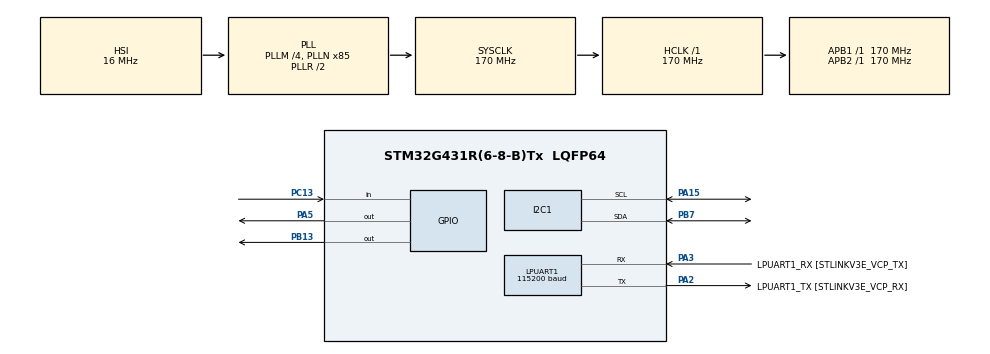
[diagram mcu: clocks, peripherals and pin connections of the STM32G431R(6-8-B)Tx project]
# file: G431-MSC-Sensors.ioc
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I2C1.Timing=0x40B285C2
LPUART1.BaudRate=115200
Mcu.Family=STM32G4
Mcu.Name=STM32G431R(6-8-B)Tx
Mcu.Package=LQFP64
NVIC.PriorityGroup=NVIC_PRIORITYGROUP_4
NVIC.TIM2_IRQn=true\:0\:0\:false\:false\:true\:true\:true\:true
PA13.GPIO_Label=T_SWDIO
PA13.Signal=SYS_JTMS-SWDIO
PA14.GPIO_Label=T_SWCLK
PA14.Signal=SYS_JTCK-SWCLK
PA15.Mode=I2C
PA15.Signal=I2C1_SCL
PA2.GPIO_Label=LPUART1_TX [STLINKV3E_VCP_RX]
PA2.Mode=Asynchronous
PA2.Signal=LPUART1_TX
PA3.GPIO_Label=LPUART1_RX [STLINKV3E_VCP_TX]
PA3.Mode=Asynchronous
PA3.Signal=LPUART1_RX
PA5.Signal=GPIO_Output
PB13.Signal=GPIO_Output
PB3.GPIO_Label=T_SWO
PB3.Signal=SYS_JTDO-SWO
PB7.Mode=I2C
PB7.Signal=I2C1_SDA
PC13.Signal=GPIO_Input
PC14-OSC32_IN.GPIO_Label=RCC_OSC32_OUT
PC14-OSC32_IN.Signal=RCC_OSC32_IN
PC15-OSC32_OUT.GPIO_Label=RCC_OSC32_OUT
PC15-OSC32_OUT.Signal=RCC_OSC32_OUT
PF0-OSC_IN.GPIO_Label=RCC_OSC_IN
PF0-OSC_IN.Signal=RCC_OSC_IN
PF1-OSC_OUT.GPIO_Label=RCC_OSC_OUT
PF1-OSC_OUT.Signal=RCC_OSC_OUT
ProjectManager.HeapSize=0x200
ProjectManager.StackSize=0x400
ProjectManager.TargetToolchain=STM32CubeIDE
RCC.ADC12Freq_Value=170000000
RCC.AHBFreq_Value=170000000
RCC.APB1Freq_Value=170000000
RCC.APB1TimFreq_Value=170000000
RCC.APB2Freq_Value=170000000
RCC.APB2TimFreq_Value=170000000
RCC.CortexFreq_Value=170000000
RCC.EXTERNAL_CLOCK_VALUE=12288000
RCC.HCLKFreq_Value=170000000
RCC.HSE_VALUE=24000000
RCC.HSI48_VALUE=48000000
RCC.HSI_VALUE=16000000
RCC.LSE_VALUE=32768
RCC.PLLM=RCC_PLLM_DIV4
RCC.PLLN=85
RCC.RTCClockSelection=RCC_RTCCLKSOURCE_LSE
RCC.SYSCLKFreq_VALUE=170000000
RCC.SYSCLKSource=RCC_SYSCLKSOURCE_PLLCLK
RCC.USBFreq_Value=170000000
RCC.VCOOutputFreq_Value=340000000
TIM2.PeriodNoDither=100-1
TIM2.Prescaler=17000-1
VP_SYS_VS_DBSignals.Mode=DisableDeadBatterySignals
VP_TIM2_VS_ClockSourceINT.Mode=Internal
board=NUCLEO-G431RB

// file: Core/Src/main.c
/* USER CODE BEGIN Header */
/**
 ******************************************************************************
 * @file           : main.c
 * @brief          : Main program body
 ******************************************************************************
 * @attention
 *
 * Copyright (c) 2024 STMicroelectronics.
 * All rights reserved.
 *
 * This software is licensed under terms that can be found in the LICENSE file
 * in the root directory of this software component.
 * If no LICENSE file comes with this software, it is provided AS-IS.
 *
 ******************************************************************************
 */
/* USER CODE END Header */
#include "main.h"

/* USER CODE BEGIN Includes */
#include "tools.h"
#include "functions.h"
#include "compass.h"

/* USER CODE END Includes */

I2C_HandleTypeDef hi2c1;

UART_HandleTypeDef hlpuart1;

TIM_HandleTypeDef htim2;

/* USER CODE BEGIN PV */
CompassCalib_t acc_calib;
/* USER CODE END PV */

void SystemClock_Config(void);
static void MX_GPIO_Init(void);
static void MX_I2C1_Init(void);
static void MX_LPUART1_UART_Init(void);
static void MX_TIM2_Init(void);

int main(void)
{

	/* MCU Configuration--------------------------------------------------------*/

	/* Reset of all peripherals, Initializes the Flash interface and the Systick. */
	HAL_Init();

	/* Configure the system clock */
	SystemClock_Config();

	/* Initialize all configured peripherals */
	MX_GPIO_Init();
	MX_I2C1_Init();
	MX_LPUART1_UART_Init();
	MX_TIM2_Init();
	/* USER CODE BEGIN 2 */
	setup();

	HAL_UART_Transmit(&hlpuart1, (uint8_t*)"\r\n--- Initialisation du MPU9250 ---\r\n", 39, HAL_MAX_DELAY);
	checkMPU9250_ID();   // Vérifie le WHO_AM_I du MPU
	InitSensors();       // Initialise les registres de base

	// === Calibration du gyroscope ===
	HAL_UART_Transmit(&hlpuart1, (uint8_t*)"\r\n\r\nDébut de la calibration du gyroscope...\r\n", 47, HAL_MAX_DELAY);
	GyrCalib(1000);  // Prend 1000 échantillons immobiles pour calculer les offsets
	ReadOffsetGyro();

	// === Calibration « light » du magnétomètre ===
	HAL_UART_Transmit(&hlpuart1, (uint8_t*)"\r\nDébut de la calibration lite du magnétomètre...\r\n", 52, HAL_MAX_DELAY);
	MagCalibLite(300, 50);  // 300 mesures, 50 ms d'écart
	HAL_UART_Transmit(&hlpuart1, (uint8_t*)"Calibration lite du magnétomètre terminée !\r\n", 49, HAL_MAX_DELAY);

	// === Calibration plus poussée du magnétomètre ===
	HAL_UART_Transmit(&hlpuart1, (uint8_t*)"\r\nDébut de la calibration hard & soft iron magnétomètre...\r\n", strlen("\r\nDébut de la calibration hard & soft iron magnétomètre...\r\n"), HAL_MAX_DELAY);

	double mag_bias[3], mag_scale[3];
	MagCalib(&hi2c1, mag_bias, mag_scale);

	// Affichage des résultats de calibration
	char calib_msg[100];
	snprintf(calib_msg, sizeof(calib_msg),
			"\r\nBias: X=%.3f | Y=%.3f | Z=%.3f\r\nScale: X=%.3f | Y=%.3f | Z=%.3f\r\n",
			mag_bias[0], mag_bias[1], mag_bias[2],
			mag_scale[0], mag_scale[1], mag_scale[2]);
	HAL_UART_Transmit(&hlpuart1, (uint8_t*)calib_msg, strlen(calib_msg), HAL_MAX_DELAY);

	HAL_UART_Transmit(&hlpuart1,(uint8_t*)"Calibration hard & soft iron terminée\r\n", strlen("Calibration hard & soft iron terminée\r\n"), HAL_MAX_DELAY);

	// --- Lecture d'une mesure magnétomètre calibrée ---
	double mag_results[3];
	char mag_msg[100];

	MagMeasureMsgCalib(mag_results, mag_msg, sizeof(mag_msg), mag_bias, mag_scale);
	HAL_UART_Transmit(&hlpuart1, (uint8_t*)mag_msg, strlen(mag_msg), HAL_MAX_DELAY);

	// Demarrage du Timer
	HAL_TIM_Base_Start_IT(&htim2);
	HAL_UART_Transmit(&hlpuart1, (uint8_t*)"Timer 100 Hz démarré\r\n", 26, HAL_MAX_DELAY);

	// --- Tests éventuels ---
	//TestAccelSensZ();
	//TestGyroNoise(1000);

	// --- Test Calib Mag MATLAB ---
	/*int N = 500;
	for (int i=1; i<N; i++) {
		double  mag_data[3];
	    MagMeasureMsgCalib(mag_data, mag_msg, sizeof(mag_msg), mag_bias, mag_scale);
	    HAL_UART_Transmit(&hlpuart1, (uint8_t*)mag_msg, strlen(mag_msg), HAL_MAX_DELAY);
	    HAL_Delay(100); // 100 ms entre chaque mesure
	}*/
	/* USER CODE END 2 */

	/* Infinite loop */
	/* USER CODE BEGIN WHILE */
	while (1)
	{
		//loop();
		/* USER CODE END WHILE */

		/* USER CODE BEGIN 3 */
		char temp_msg[50];
		char gyro_msg[100];
		char acc_msg[100];
		char mag_msg[100];
		char compass_msg[100];

		double acc_data[3], gyro_data[3], mag_data[3];
		double roll = 0, pitch = 0, heading = 0;

		// Mesures
		TempMeasureMsg(temp_msg, sizeof(temp_msg));
		GyroMeasureMsg(gyro_data, gyro_msg, sizeof(gyro_msg));
		AccMeasureMsg(acc_data, acc_msg, sizeof(acc_msg));
		MagMeasureMsgCalib(mag_data, mag_msg, sizeof(mag_msg), mag_bias, mag_scale);

		// Boussole compensée
		CompassMeasureMsg(acc_data, compass_msg, sizeof(compass_msg), &acc_calib);

		// Transmission UART dans l'ordre désiré
		HAL_UART_Transmit(&hlpuart1, (uint8_t*)temp_msg, strlen(temp_msg), HAL_MAX_DELAY);
		HAL_UART_Transmit(&hlpuart1, (uint8_t*)gyro_msg, strlen(gyro_msg), HAL_MAX_DELAY);
		HAL_UART_Transmit(&hlpuart1, (uint8_t*)acc_msg, strlen(acc_msg), HAL_MAX_DELAY);
		HAL_UART_Transmit(&hlpuart1, (uint8_t*)mag_msg, strlen(mag_msg), HAL_MAX_DELAY);
		HAL_UART_Transmit(&hlpuart1, (uint8_t*)"\r\n", strlen("\r\n"), HAL_MAX_DELAY);

		// Calcul de l'orientation compensée
		HAL_UART_Transmit(&hlpuart1, (uint8_t*)compass_msg, strlen(compass_msg), HAL_MAX_DELAY);

		TiltCompensatedCompass(acc_data, mag_data, &roll, &pitch, &heading);
		snprintf(compass_msg, sizeof(compass_msg),
				"Roulis = %.2f deg | Tangage = %.2f deg | NordMag = %.2f deg\r\n",
				roll, pitch, heading);
		HAL_UART_Transmit(&hlpuart1, (uint8_t*)compass_msg, strlen(compass_msg), HAL_MAX_DELAY);

		TiltCompensatedCompassAngles(acc_data, mag_data, &roll, &pitch, &heading);
		snprintf(compass_msg, sizeof(compass_msg),
				"Roulis amélioré = %.2f deg | Tangage amélioré = %.2f deg | NordMag amélioré = %.2f deg\r\n",
				roll, pitch, heading);
		HAL_UART_Transmit(&hlpuart1, (uint8_t*)compass_msg, strlen(compass_msg), HAL_MAX_DELAY);

		HAL_UART_Transmit(&hlpuart1, "\r\n===============================\r\n", strlen("\r\n================================\r\n"), HAL_MAX_DELAY);

		HAL_Delay(1000);
	}
	/* USER CODE END 3 */
}

void SystemClock_Config(void)
{
	RCC_OscInitTypeDef RCC_OscInitStruct = {0};
	RCC_ClkInitTypeDef RCC_ClkInitStruct = {0};

	/** Configure the main internal regulator output voltage
	 */
	HAL_PWREx_ControlVoltageScaling(PWR_REGULATOR_VOLTAGE_SCALE1_BOOST);

	/** Initializes the RCC Oscillators according to the specified parameters
	 * in the RCC_OscInitTypeDef structure.
	 */
	RCC_OscInitStruct.OscillatorType = RCC_OSCILLATORTYPE_HSI;
	RCC_OscInitStruct.HSIState = RCC_HSI_ON;
	RCC_OscInitStruct.HSICalibrationValue = RCC_HSICALIBRATION_DEFAULT;
	RCC_OscInitStruct.PLL.PLLState = RCC_PLL_ON;
	RCC_OscInitStruct.PLL.PLLSource = RCC_PLLSOURCE_HSI;
	RCC_OscInitStruct.PLL.PLLM = RCC_PLLM_DIV4;
	RCC_OscInitStruct.PLL.PLLN = 85;
	RCC_OscInitStruct.PLL.PLLP = RCC_PLLP_DIV2;
	RCC_OscInitStruct.PLL.PLLQ = RCC_PLLQ_DIV2;
	RCC_OscInitStruct.PLL.PLLR = RCC_PLLR_DIV2;
	if (HAL_RCC_OscConfig(&RCC_OscInitStruct) != HAL_OK)
	{
		Error_Handler();
	}

	/** Initializes the CPU, AHB and APB buses clocks
	 */
	RCC_ClkInitStruct.ClockType = RCC_CLOCKTYPE_HCLK|RCC_CLOCKTYPE_SYSCLK
			|RCC_CLOCKTYPE_PCLK1|RCC_CLOCKTYPE_PCLK2;
	RCC_ClkInitStruct.SYSCLKSource = RCC_SYSCLKSOURCE_PLLCLK;
	RCC_ClkInitStruct.AHBCLKDivider = RCC_SYSCLK_DIV1;
	RCC_ClkInitStruct.APB1CLKDivider = RCC_HCLK_DIV1;
	RCC_ClkInitStruct.APB2CLKDivider = RCC_HCLK_DIV1;

	if (HAL_RCC_ClockConfig(&RCC_ClkInitStruct, FLASH_LATENCY_4) != HAL_OK)
	{
		Error_Handler();
	}
}

static void MX_I2C1_Init(void)
{

	hi2c1.Instance = I2C1;
	hi2c1.Init.Timing = 0x40B285C2;
	hi2c1.Init.OwnAddress1 = 0;
	hi2c1.Init.AddressingMode = I2C_ADDRESSINGMODE_7BIT;
	hi2c1.Init.DualAddressMode = I2C_DUALADDRESS_DISABLE;
	hi2c1.Init.OwnAddress2 = 0;
	hi2c1.Init.OwnAddress2Masks = I2C_OA2_NOMASK;
	hi2c1.Init.GeneralCallMode = I2C_GENERALCALL_DISABLE;
	hi2c1.Init.NoStretchMode = I2C_NOSTRETCH_DISABLE;
	if (HAL_I2C_Init(&hi2c1) != HAL_OK)
	{
		Error_Handler();
	}

	/** Configure Analogue filter
	 */
	if (HAL_I2CEx_ConfigAnalogFilter(&hi2c1, I2C_ANALOGFILTER_ENABLE) != HAL_OK)
	{
		Error_Handler();
	}

	/** Configure Digital filter
	 */
	if (HAL_I2CEx_ConfigDigitalFilter(&hi2c1, 0) != HAL_OK)
	{
		Error_Handler();
	}

}

static void MX_LPUART1_UART_Init(void)
{

	hlpuart1.Instance = LPUART1;
	hlpuart1.Init.BaudRate = 115200;
	hlpuart1.Init.WordLength = UART_WORDLENGTH_8B;
	hlpuart1.Init.StopBits = UART_STOPBITS_1;
	hlpuart1.Init.Parity = UART_PARITY_NONE;
	hlpuart1.Init.Mode = UART_MODE_TX_RX;
	hlpuart1.Init.HwFlowCtl = UART_HWCONTROL_NONE;
	hlpuart1.Init.OneBitSampling = UART_ONE_BIT_SAMPLE_DISABLE;
	hlpuart1.Init.ClockPrescaler = UART_PRESCALER_DIV1;
	hlpuart1.AdvancedInit.AdvFeatureInit = UART_ADVFEATURE_NO_INIT;
	if (HAL_UART_Init(&hlpuart1) != HAL_OK)
	{
		Error_Handler();
	}
	if (HAL_UARTEx_SetTxFifoThreshold(&hlpuart1, UART_TXFIFO_THRESHOLD_1_8) != HAL_OK)
	{
		Error_Handler();
	}
	if (HAL_UARTEx_SetRxFifoThreshold(&hlpuart1, UART_RXFIFO_THRESHOLD_1_8) != HAL_OK)
	{
		Error_Handler();
	}
	if (HAL_UARTEx_DisableFifoMode(&hlpuart1) != HAL_OK)
	{
		Error_Handler();
	}

}

static void MX_TIM2_Init(void)
{

	TIM_ClockConfigTypeDef sClockSourceConfig = {0};
	TIM_MasterConfigTypeDef sMasterConfig = {0};

	htim2.Instance = TIM2;
	htim2.Init.Prescaler = 17000-1;
	htim2.Init.CounterMode = TIM_COUNTERMODE_UP;
	htim2.Init.Period = 99;
	htim2.Init.ClockDivision = TIM_CLOCKDIVISION_DIV1;
	htim2.Init.AutoReloadPreload = TIM_AUTORELOAD_PRELOAD_DISABLE;
	if (HAL_TIM_Base_Init(&htim2) != HAL_OK)
	{
		Error_Handler();
	}
	sClockSourceConfig.ClockSource = TIM_CLOCKSOURCE_INTERNAL;
	if (HAL_TIM_ConfigClockSource(&htim2, &sClockSourceConfig) != HAL_OK)
	{
		Error_Handler();
	}
	sMasterConfig.MasterOutputTrigger = TIM_TRGO_RESET;
	sMasterConfig.MasterSlaveMode = TIM_MASTERSLAVEMODE_DISABLE;
	if (HAL_TIMEx_MasterConfigSynchronization(&htim2, &sMasterConfig) != HAL_OK)
	{
		Error_Handler();
	}

}

static void MX_GPIO_Init(void)
{
	GPIO_InitTypeDef GPIO_InitStruct = {0};

	/* GPIO Ports Clock Enable */
	__HAL_RCC_GPIOC_CLK_ENABLE();
	__HAL_RCC_GPIOF_CLK_ENABLE();
	__HAL_RCC_GPIOA_CLK_ENABLE();
	__HAL_RCC_GPIOB_CLK_ENABLE();

	/*Configure GPIO pin Output Level */
	HAL_GPIO_WritePin(GPIOA, GPIO_PIN_5, GPIO_PIN_RESET);

	/*Configure GPIO pin Output Level */
	HAL_GPIO_WritePin(GPIOB, GPIO_PIN_13, GPIO_PIN_RESET);

	/*Configure GPIO pin : PC13 */
	GPIO_InitStruct.Pin = GPIO_PIN_13;
	GPIO_InitStruct.Mode = GPIO_MODE_INPUT;
	GPIO_InitStruct.Pull = GPIO_NOPULL;
	HAL_GPIO_Init(GPIOC, &GPIO_InitStruct);

	/*Configure GPIO pin : PA5 */
	GPIO_InitStruct.Pin = GPIO_PIN_5;
	GPIO_InitStruct.Mode = GPIO_MODE_OUTPUT_PP;
	GPIO_InitStruct.Pull = GPIO_NOPULL;
	GPIO_InitStruct.Speed = GPIO_SPEED_FREQ_LOW;
	HAL_GPIO_Init(GPIOA, &GPIO_InitStruct);

	/*Configure GPIO pin : PB13 */
	GPIO_InitStruct.Pin = GPIO_PIN_13;
	GPIO_InitStruct.Mode = GPIO_MODE_OUTPUT_PP;
	GPIO_InitStruct.Pull = GPIO_NOPULL;
	GPIO_InitStruct.Speed = GPIO_SPEED_FREQ_LOW;
	HAL_GPIO_Init(GPIOB, &GPIO_InitStruct);

}

void Error_Handler(void)
{
	__disable_irq();
	while (1)
	{
	}
}
